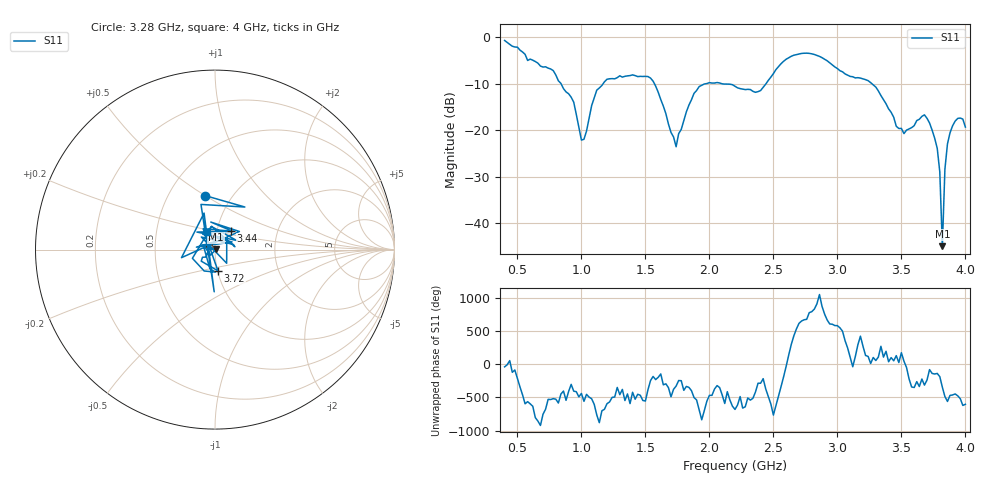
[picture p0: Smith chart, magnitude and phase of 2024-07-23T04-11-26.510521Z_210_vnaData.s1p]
!Created with skrf (http://scikit-rf.org).
# Hz S RI R 50.0
!freq ReS11 ImS11
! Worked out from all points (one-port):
!   181 points, 400 MHz to 4 GHz, reference 50 ohm
!   lowest |S11| = -44.9 dB at 3.82 GHz (marker M1), VSWR 1.01, Z = 50.6 + j0.124 ohm
!   |S11| at or under -10 dB: 1.57 GHz to 1.98 GHz (410.7 MHz wide, 23.1 % of centre); 2.093 GHz to 2.443 GHz (350.5 MHz wide, 15.5 % of centre); 3.268 GHz to end of sweep (the widest 3 of 4)
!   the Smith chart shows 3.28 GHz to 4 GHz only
!   S11 on the Smith chart (normalised r, x): 3.28 GHz: 0.75, +0.50; 3.44 GHz: 1.16, +0.25; 3.72 GHz: 1.00, -0.24; 4 GHz: 0.90, +0.18
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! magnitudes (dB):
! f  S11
! 400 MHz  -0.8
! 780 MHz  -7.2
! 860 MHz  -11.1
! 940 MHz  -14.0
! 1 GHz  -22.1
! 1.12 GHz  -11.4
! 1.3 GHz  -8.3
! 1.54 GHz  -8.8
! 1.74 GHz  -23.6
! 1.76 GHz  -20.7
! 1.92 GHz  -10.7
! 2.2 GHz  -10.6
! 2.4 GHz  -11.5
! 2.66 GHz  -3.9
! 3.1 GHz  -8.5
! 3.28 GHz  -10.3
! 3.44 GHz  -17.2
! 3.52 GHz  -20.7
! 3.56 GHz  -19.7
! 3.68 GHz  -16.7
! 3.72 GHz  -18.5
! 3.78 GHz  -23.9
! 3.8 GHz  -28.9
! 3.82 GHz  -44.9
! 3.84 GHz  -28.4
! 3.86 GHz  -22.9
! 3.94 GHz  -17.5
! 4 GHz  -19.3
